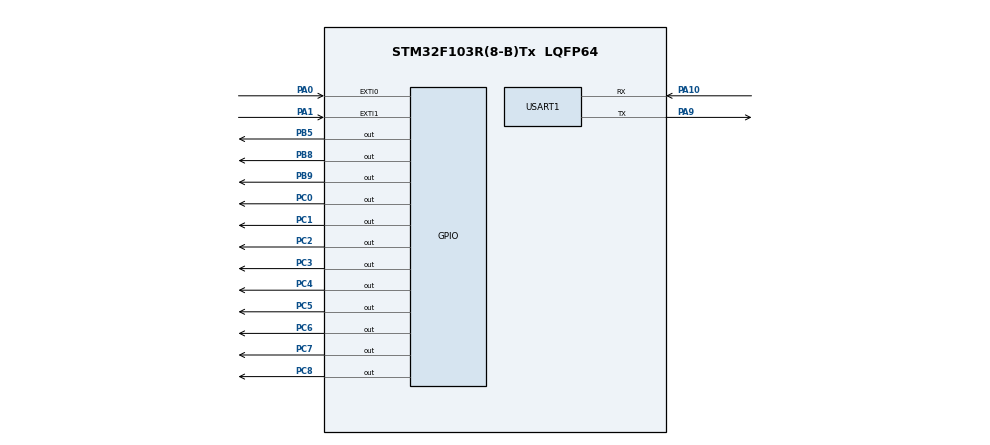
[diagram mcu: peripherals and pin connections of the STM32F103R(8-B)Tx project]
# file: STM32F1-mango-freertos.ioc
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FREERTOS.INCLUDE_eTaskGetState=1
FREERTOS.Tasks01=defaultTask,0,128,StartDefaultTask,Default,NULL,Dynamic,NULL,NULL
FREERTOS.configTICK_RATE_HZ=1000
FREERTOS.configUSE_NEWLIB_REENTRANT=1
FREERTOS.configUSE_PREEMPTION=1
FREERTOS.configUSE_TIMERS=1
Mcu.Family=STM32F1
Mcu.Name=STM32F103R(8-B)Tx
Mcu.Package=LQFP64
NVIC.EXTI0_IRQn=true\:5\:0\:false\:false\:true\:true\:true\:true\:true
NVIC.EXTI1_IRQn=true\:5\:0\:false\:false\:true\:true\:true\:true\:true
NVIC.PriorityGroup=NVIC_PRIORITYGROUP_4
NVIC.TIM1_BRK_IRQn=true\:5\:0\:false\:false\:true\:true\:true\:true\:true
NVIC.TIM1_CC_IRQn=true\:5\:0\:false\:false\:true\:true\:true\:true\:true
NVIC.TIM1_TRG_COM_IRQn=true\:5\:0\:false\:false\:true\:true\:true\:true\:true
NVIC.TIM1_UP_IRQn=true\:5\:0\:false\:false\:true\:true\:true\:true\:true
NVIC.TIM2_IRQn=true\:5\:0\:false\:false\:true\:true\:true\:true\:true
NVIC.TIM3_IRQn=true\:5\:0\:false\:false\:true\:true\:true\:true\:true
PA0-WKUP.Signal=GPXTI0
PA1.Signal=GPXTI1
PA10.Mode=Asynchronous
PA10.Signal=USART1_RX
PA9.Mode=Asynchronous
PA9.Signal=USART1_TX
PB5.Signal=GPIO_Output
PB8.Signal=GPIO_Output
PB9.Signal=GPIO_Output
PC0.Signal=GPIO_Output
PC1.Signal=GPIO_Output
PC2.Signal=GPIO_Output
PC3.Signal=GPIO_Output
PC4.Signal=GPIO_Output
PC5.Signal=GPIO_Output
PC6.Signal=GPIO_Output
PC7.Signal=GPIO_Output
PC8.Signal=GPIO_Output
ProjectManager.HeapSize=0x200
ProjectManager.StackSize=0x400
ProjectManager.TargetToolchain=STM32CubeIDE
RCC.APB1Freq_Value=8000000
RCC.APB2Freq_Value=8000000
TIM1.Period=1000
TIM1.Prescaler=8000
TIM2.Period=100
TIM2.Prescaler=8000
TIM3.Period=3000
TIM3.Prescaler=8000
USART1.VirtualMode=VM_ASYNC
VP_FREERTOS_VS_CMSIS_V1.Mode=CMSIS_V1
VP_SYS_VS_ND.Mode=No_Debug
VP_TIM1_VS_ClockSourceINT.Mode=Internal
VP_TIM2_VS_ClockSourceINT.Mode=Internal
VP_TIM3_VS_ClockSourceINT.Mode=Internal
board=custom

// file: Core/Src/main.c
/* USER CODE BEGIN Header */
/**
  ******************************************************************************
  * @file           : main.c
  * @brief          : Main program body
  ******************************************************************************
  * @attention
  *
  * Copyright (c) 2023 STMicroelectronics.
  * All rights reserved.
  *
  * This software is licensed under terms that can be found in the LICENSE file
  * in the root directory of this software component.
  * If no LICENSE file comes with this software, it is provided AS-IS.
  *
  ******************************************************************************
  */
/* USER CODE END Header */
#include "main.h"
#include "cmsis_os.h"

TIM_HandleTypeDef htim1;
TIM_HandleTypeDef htim2;
TIM_HandleTypeDef htim3;

UART_HandleTypeDef huart1;

/* USER CODE BEGIN PV */
osThreadId defaultTaskHandle;
osThreadId defaultTaskHandle2;
/* USER CODE END PV */

void SystemClock_Config(void);
static void MX_GPIO_Init(void);
static void MX_TIM1_Init(void);
static void MX_TIM2_Init(void);
static void MX_TIM3_Init(void);
static void MX_USART1_UART_Init(void);
void StartDefaultTask(void const * argument);

/* USER CODE BEGIN PFP */
void StartDefaultTask2(void const * argument);
/* USER CODE END PFP */

int main(void)
{
  /* USER CODE BEGIN 1 */
	int user_var;
	char buf[80];
  /* USER CODE END 1 */

  /* MCU Configuration--------------------------------------------------------*/

  /* Reset of all peripherals, Initializes the Flash interface and the Systick. */
  HAL_Init();

  /* Configure the system clock */
  SystemClock_Config();

  /* Initialize all configured peripherals */
  MX_GPIO_Init();
  MX_TIM1_Init();
  MX_TIM2_Init();
  MX_TIM3_Init();
  MX_USART1_UART_Init();
  /* USER CODE BEGIN 2 */
	user_uart_send_msg(&huart1, UART_CONNECT_MSG);
	user_uart_send_msg(&huart1, "[Done] Devices Init.");
	user_gpio_led_off_all();
	user_uart_send_msg(&huart1, "[Done] user_gpio_led_off_all.");

	//HAL_TIM_Base_Start_IT(&htim1);
	//HAL_TIM_Base_Start_IT(&htim2);
	//HAL_TIM_Base_Start_IT(&htim3);
	//user_uart_send_msg(&huart1, "[Done] Timer Interrupt Start.");

	sprintf((char*)buf, "main() addr = %p", &main);		// Code
	user_uart_send_msg(&huart1, buf);

	sprintf((char*)buf, "TaskHandle addr = %p", defaultTaskHandle);	// Global
	user_uart_send_msg(&huart1, buf);

	sprintf((char*)buf, "user_var addr = %p", &user_var);		// Stadck
	user_uart_send_msg(&huart1, buf);

	sprintf((char*)buf, "TIM2 addr = %p", TIM2);		// device addr
	user_uart_send_msg(&huart1, buf);

  /* USER CODE END 2 */

  /* Create the thread(s) */
  /* definition and creation of defaultTask */

  osThreadDef(defaultTask, StartDefaultTask, osPriorityNormal, 0, 128);
  defaultTaskHandle = osThreadCreate(osThread(defaultTask), NULL);

  // DEAN
  //osThreadDef(defaultTask2, StartDefaultTask2, osPriorityNormal, 0, 128);
  //defaultTaskHandle2 = osThreadCreate(osThread(defaultTask2), NULL);

  /* USER CODE BEGIN RTOS_THREADS */
  //task01_thread_create();
  //task02_thread_create();		//Thread
  //task03_thread_create();		//Semaphore
  //task04_thread_create();		//Semaphore ISR
  //task05_thread_create();		//Priority
  //task06_thread_create();		//Mutex
  //task07_thread_create();		//Message Queue
  task08_thread_create();		//Timer
  /* USER CODE END RTOS_THREADS */

  /* Start scheduler */
  osKernelStart();

  /* We should never get here as control is now taken by the scheduler */
  /* Infinite loop */
  while (1)
  {

  }
}

void SystemClock_Config(void)
{
  RCC_OscInitTypeDef RCC_OscInitStruct = {0};
  RCC_ClkInitTypeDef RCC_ClkInitStruct = {0};

  /** Initializes the RCC Oscillators according to the specified parameters
  * in the RCC_OscInitTypeDef structure.
  */
  RCC_OscInitStruct.OscillatorType = RCC_OSCILLATORTYPE_HSI;
  RCC_OscInitStruct.HSIState = RCC_HSI_ON;
  RCC_OscInitStruct.HSICalibrationValue = RCC_HSICALIBRATION_DEFAULT;
  RCC_OscInitStruct.PLL.PLLState = RCC_PLL_NONE;
  if (HAL_RCC_OscConfig(&RCC_OscInitStruct) != HAL_OK)
  {
    Error_Handler();
  }

  /** Initializes the CPU, AHB and APB buses clocks
  */
  RCC_ClkInitStruct.ClockType = RCC_CLOCKTYPE_HCLK|RCC_CLOCKTYPE_SYSCLK
                              |RCC_CLOCKTYPE_PCLK1|RCC_CLOCKTYPE_PCLK2;
  RCC_ClkInitStruct.SYSCLKSource = RCC_SYSCLKSOURCE_HSI;
  RCC_ClkInitStruct.AHBCLKDivider = RCC_SYSCLK_DIV1;
  RCC_ClkInitStruct.APB1CLKDivider = RCC_HCLK_DIV1;
  RCC_ClkInitStruct.APB2CLKDivider = RCC_HCLK_DIV1;

  if (HAL_RCC_ClockConfig(&RCC_ClkInitStruct, FLASH_LATENCY_0) != HAL_OK)
  {
    Error_Handler();
  }
}

static void MX_TIM1_Init(void)
{

  TIM_ClockConfigTypeDef sClockSourceConfig = {0};
  TIM_MasterConfigTypeDef sMasterConfig = {0};

  htim1.Instance = TIM1;
  htim1.Init.Prescaler = 8000;
  htim1.Init.CounterMode = TIM_COUNTERMODE_UP;
  htim1.Init.Period = 1000;
  htim1.Init.ClockDivision = TIM_CLOCKDIVISION_DIV1;
  htim1.Init.RepetitionCounter = 0;
  htim1.Init.AutoReloadPreload = TIM_AUTORELOAD_PRELOAD_DISABLE;
  if (HAL_TIM_Base_Init(&htim1) != HAL_OK)
  {
    Error_Handler();
  }
  sClockSourceConfig.ClockSource = TIM_CLOCKSOURCE_INTERNAL;
  if (HAL_TIM_ConfigClockSource(&htim1, &sClockSourceConfig) != HAL_OK)
  {
    Error_Handler();
  }
  sMasterConfig.MasterOutputTrigger = TIM_TRGO_RESET;
  sMasterConfig.MasterSlaveMode = TIM_MASTERSLAVEMODE_DISABLE;
  if (HAL_TIMEx_MasterConfigSynchronization(&htim1, &sMasterConfig) != HAL_OK)
  {
    Error_Handler();
  }

}

static void MX_TIM2_Init(void)
{

  TIM_ClockConfigTypeDef sClockSourceConfig = {0};
  TIM_MasterConfigTypeDef sMasterConfig = {0};

  htim2.Instance = TIM2;
  htim2.Init.Prescaler = 8000;
  htim2.Init.CounterMode = TIM_COUNTERMODE_UP;
  htim2.Init.Period = 100;
  htim2.Init.ClockDivision = TIM_CLOCKDIVISION_DIV1;
  htim2.Init.AutoReloadPreload = TIM_AUTORELOAD_PRELOAD_DISABLE;
  if (HAL_TIM_Base_Init(&htim2) != HAL_OK)
  {
    Error_Handler();
  }
  sClockSourceConfig.ClockSource = TIM_CLOCKSOURCE_INTERNAL;
  if (HAL_TIM_ConfigClockSource(&htim2, &sClockSourceConfig) != HAL_OK)
  {
    Error_Handler();
  }
  sMasterConfig.MasterOutputTrigger = TIM_TRGO_RESET;
  sMasterConfig.MasterSlaveMode = TIM_MASTERSLAVEMODE_DISABLE;
  if (HAL_TIMEx_MasterConfigSynchronization(&htim2, &sMasterConfig) != HAL_OK)
  {
    Error_Handler();
  }

}

static void MX_TIM3_Init(void)
{

  TIM_ClockConfigTypeDef sClockSourceConfig = {0};
  TIM_MasterConfigTypeDef sMasterConfig = {0};

  htim3.Instance = TIM3;
  htim3.Init.Prescaler = 8000;
  htim3.Init.CounterMode = TIM_COUNTERMODE_UP;
  htim3.Init.Period = 3000;
  htim3.Init.ClockDivision = TIM_CLOCKDIVISION_DIV1;
  htim3.Init.AutoReloadPreload = TIM_AUTORELOAD_PRELOAD_DISABLE;
  if (HAL_TIM_Base_Init(&htim3) != HAL_OK)
  {
    Error_Handler();
  }
  sClockSourceConfig.ClockSource = TIM_CLOCKSOURCE_INTERNAL;
  if (HAL_TIM_ConfigClockSource(&htim3, &sClockSourceConfig) != HAL_OK)
  {
    Error_Handler();
  }
  sMasterConfig.MasterOutputTrigger = TIM_TRGO_RESET;
  sMasterConfig.MasterSlaveMode = TIM_MASTERSLAVEMODE_DISABLE;
  if (HAL_TIMEx_MasterConfigSynchronization(&htim3, &sMasterConfig) != HAL_OK)
  {
    Error_Handler();
  }

}

static void MX_USART1_UART_Init(void)
{

  huart1.Instance = USART1;
  huart1.Init.BaudRate = 115200;
  huart1.Init.WordLength = UART_WORDLENGTH_8B;
  huart1.Init.StopBits = UART_STOPBITS_1;
  huart1.Init.Parity = UART_PARITY_NONE;
  huart1.Init.Mode = UART_MODE_TX_RX;
  huart1.Init.HwFlowCtl = UART_HWCONTROL_NONE;
  huart1.Init.OverSampling = UART_OVERSAMPLING_16;
  if (HAL_UART_Init(&huart1) != HAL_OK)
  {
    Error_Handler();
  }

}

static void MX_GPIO_Init(void)
{
  GPIO_InitTypeDef GPIO_InitStruct = {0};

  /* GPIO Ports Clock Enable */
  __HAL_RCC_GPIOC_CLK_ENABLE();
  __HAL_RCC_GPIOA_CLK_ENABLE();
  __HAL_RCC_GPIOB_CLK_ENABLE();

  /*Configure GPIO pin Output Level */
  HAL_GPIO_WritePin(GPIOC, GPIO_PIN_0|GPIO_PIN_1|GPIO_PIN_2|GPIO_PIN_3
                          |GPIO_PIN_4|GPIO_PIN_5|GPIO_PIN_6|GPIO_PIN_7
                          |GPIO_PIN_8, GPIO_PIN_RESET);

  /*Configure GPIO pin Output Level */
  HAL_GPIO_WritePin(GPIOB, GPIO_PIN_5|GPIO_PIN_8|GPIO_PIN_9, GPIO_PIN_RESET);

  /*Configure GPIO pins : PC0 PC1 PC2 PC3
                           PC4 PC5 PC6 PC7
                           PC8 */
  GPIO_InitStruct.Pin = GPIO_PIN_0|GPIO_PIN_1|GPIO_PIN_2|GPIO_PIN_3
                          |GPIO_PIN_4|GPIO_PIN_5|GPIO_PIN_6|GPIO_PIN_7
                          |GPIO_PIN_8;
  GPIO_InitStruct.Mode = GPIO_MODE_OUTPUT_PP;
  GPIO_InitStruct.Pull = GPIO_NOPULL;
  GPIO_InitStruct.Speed = GPIO_SPEED_FREQ_LOW;
  HAL_GPIO_Init(GPIOC, &GPIO_InitStruct);

  /*Configure GPIO pins : PA0 PA1 */
  GPIO_InitStruct.Pin = GPIO_PIN_0|GPIO_PIN_1;
  GPIO_InitStruct.Mode = GPIO_MODE_IT_RISING;
  GPIO_InitStruct.Pull = GPIO_NOPULL;
  HAL_GPIO_Init(GPIOA, &GPIO_InitStruct);

  /*Configure GPIO pins : PB5 PB8 PB9 */
  GPIO_InitStruct.Pin = GPIO_PIN_5|GPIO_PIN_8|GPIO_PIN_9;
  GPIO_InitStruct.Mode = GPIO_MODE_OUTPUT_PP;
  GPIO_InitStruct.Pull = GPIO_NOPULL;
  GPIO_InitStruct.Speed = GPIO_SPEED_FREQ_LOW;
  HAL_GPIO_Init(GPIOB, &GPIO_InitStruct);

  /* EXTI interrupt init*/
  HAL_NVIC_SetPriority(EXTI0_IRQn, 5, 0);
  HAL_NVIC_EnableIRQ(EXTI0_IRQn);

  HAL_NVIC_SetPriority(EXTI1_IRQn, 5, 0);
  HAL_NVIC_EnableIRQ(EXTI1_IRQn);

}

void StartDefaultTask(void const * argument)
{
  /* USER CODE BEGIN 5 */
  /* Infinite loop */
  for(;;)
  {
	  HAL_GPIO_TogglePin(GPIOB, GPIO_PIN_8);
	  //user_uart_send_msg(&huart1, "[Task00] PB8 LED3 Blue.");
	  osDelay(1000);	//1000ms
  }
  /* USER CODE END 5 */
}

//DEAN
void StartDefaultTask2(void const * argument)
{
  /* USER CODE BEGIN 5 */
  /* Infinite loop */
  for(;;)
  {
	  HAL_GPIO_TogglePin(GPIOB, USER_GPIO_PIN_LED_1Y);
	  user_uart_send_msg(&huart1, "[Task02] PB5 LED1 Yellow.");
	  osDelay(2000);	//2000ms
  }
  /* USER CODE END 5 */
}

void Error_Handler(void)
{
  __disable_irq();
  while (1)
  {
  }
}
